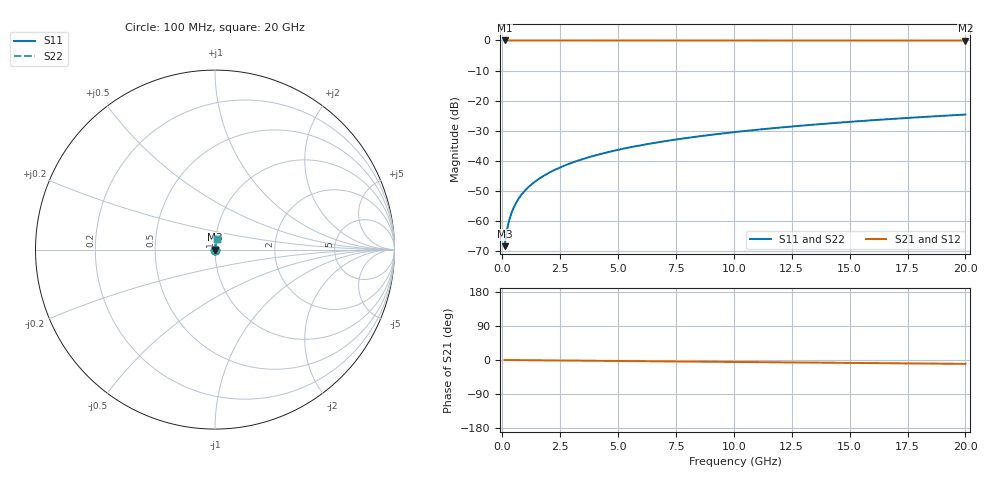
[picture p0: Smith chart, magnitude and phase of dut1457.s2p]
! Touchstone file exported from HFSS 2026.1.0
!  File:  C:/ffzhzh/LocalFiles/Ansys_Project_Files/temp_train_TSV_1457_1783198023_43440.aedt
!  Generated:  04:48:52 AM Jul  5, 2026
!  Design:  TSV
!  Project:  temp_train_TSV_1457_1783198023_43440
! Variables:
!  h_bsmrdl = 2um
!  h_ox = 20um
!  h_rdl = 5um
!  h_sub = 94.11um
!  h_tmrdl = 5um
!  h_tsv = 94.11um
!  h_via = 3um
!  l_bsmrdl = 300um
!  l_sub = 417.92um
!  l_tmrdl = 200um
!  m_sub = 200um
!  pitch = 56.45um
!  r_tsv = 8.96um
!  s_tmrdl = 10um
!  w_bsmrdl = 18um
!  w_sub = 500um
!  w_tmrdl = 12um
!  x_tsv_center1 = 206um
!  x_tsv_center2 = 524um
!  x_tsv_center3 = 736um
!  x_tsv_center4 = 1054um
!  x_tsv_center5 = 1266um
!  x_tsv_center6 = 1584um
# GHz S MA R 50.000000
! Terminal data exported
! Port[1] = TSV1_1_T1
! Port[2] = TSV1_1_T2
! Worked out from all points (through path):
!   200 points, 100 MHz to 20 GHz, reference 50 ohm
!   highest |S21| = 0.00 dB at 100 MHz (marker M1); lowest = 0.0 dB at 20 GHz (marker M2)
!   group delay of S21, straight-line fit = 1.42 ps
!   lowest |S11| = -68.4 dB at 100 MHz (marker M3), VSWR 1.00, Z = 50 + j0.0342 ohm
!   |S11| at or under -10 dB: start of sweep to end of sweep
!   |S22| runs from -68.4 to -24.6 dB; largest |S21 - S12| = 3e-15
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0.1  0.0003804 63.8  0.9998 -0.1  0.9998 -0.1  0.0003804 63.8
! Gamma 0 0 0 0
! Port Impedance 50 0 50 0
0.2  0.0007039 75.2  0.9998 -0.1  0.9998 -0.1  0.0007039 75.2
0.3  0.001035 78.9  0.9998 -0.2  0.9998 -0.2  0.001035 78.9
0.4  0.001364 80.6  0.9998 -0.2  0.9998 -0.2  0.001364 80.6
0.5  0.001688 81.5  0.9998 -0.3  0.9998 -0.3  0.001688 81.5
0.6  0.002008 82.1  0.9997 -0.3  0.9997 -0.3  0.002008 82.1
0.7  0.002324 82.5  0.9997 -0.4  0.9997 -0.4  0.002324 82.5
0.8  0.002635 82.7  0.9997 -0.4  0.9997 -0.4  0.002635 82.7
1  0.00325 83.2  0.9996 -0.5  0.9996 -0.5  0.00325 83.2
1.4  0.004461 83.8  0.9996 -0.7  0.9996 -0.7  0.004461 83.8
1.7  0.005362 84.1  0.9995 -0.9  0.9995 -0.9  0.005362 84.1
2  0.006262 84.4  0.9995 -1.0  0.9995 -1.0  0.006262 84.4
2.7  0.008357 84.7  0.9994 -1.4  0.9994 -1.4  0.008357 84.7
3.5  0.01075 84.8  0.9993 -1.8  0.9993 -1.8  0.01075 84.8
4.2  0.01283 84.7  0.9992 -2.2  0.9992 -2.2  0.01283 84.7
5  0.0152 84.5  0.9991 -2.6  0.9991 -2.6  0.0152 84.5
6.8  0.02051 84.0  0.9989 -3.5  0.9989 -3.5  0.02051 84.0
8.3  0.02491 83.5  0.9987 -4.3  0.9987 -4.3  0.02491 83.5
10.1  0.03016 82.7  0.9985 -5.2  0.9985 -5.2  0.03016 82.7
13.4  0.03974 81.3  0.998 -6.9  0.998 -6.9  0.03974 81.3
16.7  0.04924 79.8  0.9974 -8.5  0.9974 -8.5  0.04924 79.8
20  0.05865 78.3  0.9967 -10.2  0.9967 -10.2  0.05865 78.3
